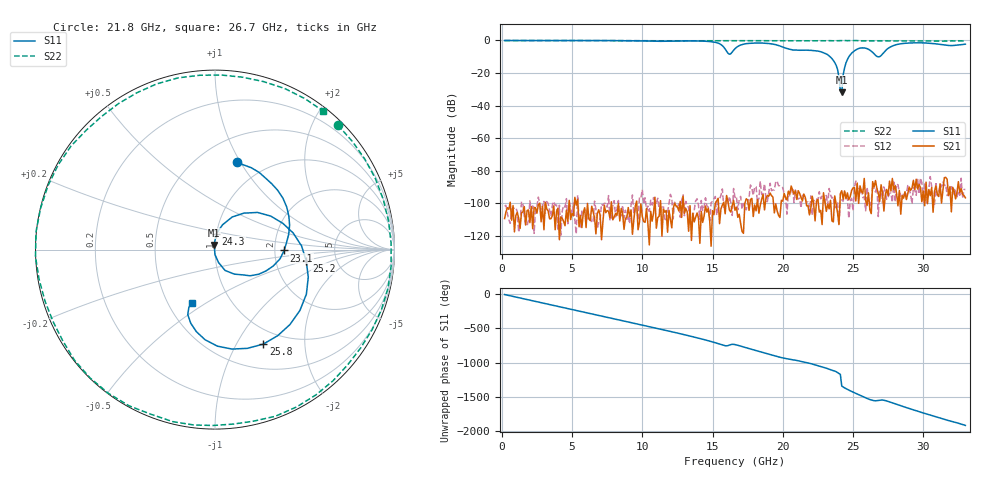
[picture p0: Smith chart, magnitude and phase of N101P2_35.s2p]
# GHZ S RI R 50
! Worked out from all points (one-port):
!   329 points, 200 MHz to 33 GHz, reference 50 ohm
!   lowest |S11| = -31.8 dB at 24.2 GHz (marker M1), VSWR 1.05, Z = 49.5 + j2.51 ohm
!   |S11| at or under -10 dB: 23.37 GHz to 24.7 GHz (1.332 GHz wide, 5.54 % of centre); 26.77538 GHz to 26.84668 GHz (71.3 MHz wide, 0.266 % of centre)
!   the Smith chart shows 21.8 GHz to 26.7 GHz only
!   S11 on the Smith chart (normalised r, x): 21.8 GHz: 0.75, +0.96; 23.1 GHz: 2.25, -0.02; 24.3 GHz: 1.00, +0.17; 25.2 GHz: 3.00, -0.52; 25.8 GHz: 0.80, -1.30; 26.7 GHz: 0.66, -0.44
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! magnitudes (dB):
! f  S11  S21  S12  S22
! 200 MHz  0.0  -109.3  -101.7  0.0
! 5.7 GHz  0.0  -114.9  -104.8  0.0
! 11.2 GHz  -0.5  -107.9  -103.6  -0.2
! 15.2 GHz  -1.1  -100.0  -95.8  -0.1
! 16.2 GHz  -8.5  -104.1  -95.8  -0.1
! 16.6 GHz  -5.1  -104.3  -96.4  -0.1
! 18.4 GHz  -1.6  -101.2  -86.4  -0.1
! 21.8 GHz  -6.0  -101.5  -99.1  -0.2
! 22.1 GHz  -6.1  -95.6  -107.4  -0.2
! 23.1 GHz  -8.3  -104.9  -95.2  -0.1
! 23.8 GHz  -15.2  -100.8  -102.0  -0.1
! 24 GHz  -22.5  -113.1  -113.6  -0.1
! 24.1 GHz  -31.2  -94.0  -98.9  -0.1
! 24.2 GHz  -31.8  -92.3  -98.0  0.0
! 24.3 GHz  -21.2  -97.5  -98.8  0.0
! 24.6 GHz  -11.7  -93.6  -96.5  -0.1
! 25.2 GHz  -5.8  -98.5  -86.3  0.0
! 25.8 GHz  -4.6  -84.7  -96.0  -0.2
! 26.7 GHz  -9.8  -90.8  -89.7  -0.2
! 27.6 GHz  -4.3  -86.3  -93.8  -0.2
! 29.1 GHz  -1.5  -92.0  -94.4  -0.2
! 33 GHz  -2.3  -96.6  -91.5  -0.3
